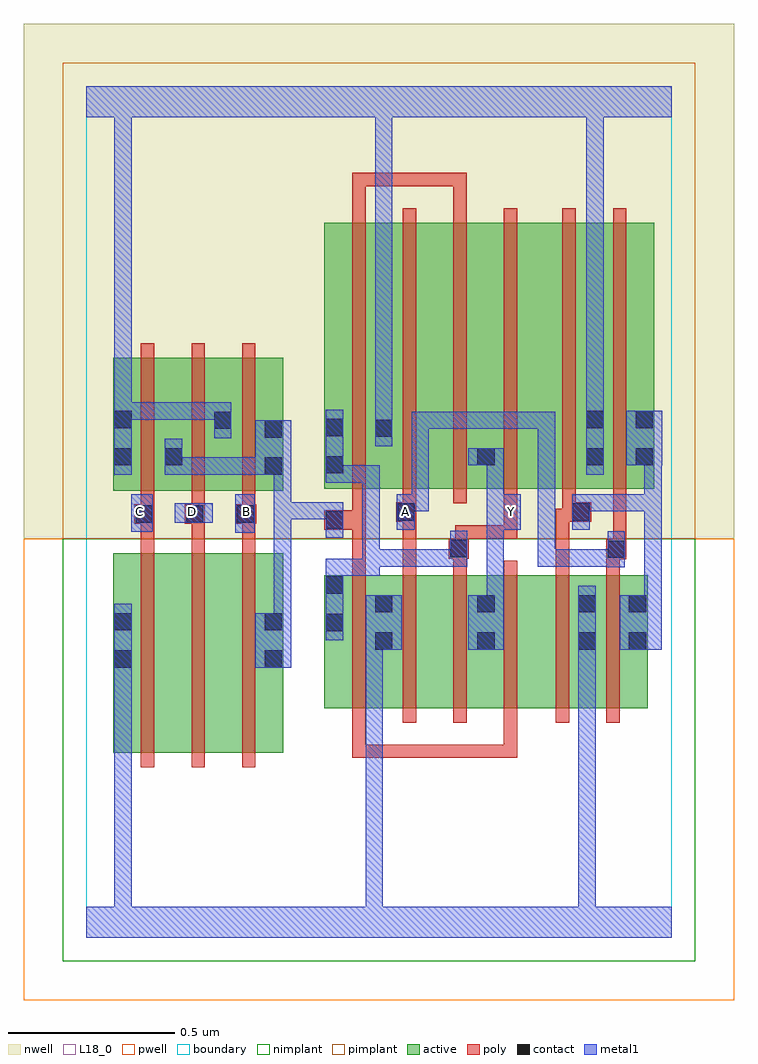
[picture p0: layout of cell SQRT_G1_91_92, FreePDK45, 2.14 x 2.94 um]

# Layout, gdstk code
import gdstk
lib = gdstk.Library(unit=1e-6, precision=1e-09)
def R(c, l, rs):  # rectangles x0, y0, x1, y1
    for r in rs: c.add(gdstk.rectangle(r[:2], r[2:], *l))
def A(c, l, x, y, w, h, nx, ny, dx, dy):  # array of equal rectangles
    R(c, l, [(x+i*dx, y+j*dy, x+i*dx+w, y+j*dy+h) for i in range(nx) for j in range(ny)])
active = (1, 0)
pwell = (2, 0)
nwell = (3, 0)
nimplant = (4, 0)
pimplant = (5, 0)
poly = (9, 0)
contact = (10, 0)
metal1 = (11, 0)
L18_0 = (18, 0)
boundary = (235, 0)

sqrt_g1_91_92 = lib.new_cell('SQRT_G1_91_92')
R(sqrt_g1_91_92, active, [(0.08,0.556,0.14,1.156), (0.08,0.556,0.26,1.156), (0.26,0.556,0.412,1.156), (0.412,0.556,0.592,1.156), (0.532,0.556,0.592,1.156), (0.716,0.69,0.776,1.09), (0.716,0.69,0.924,1.09), (0.864,0.69,1.048,1.09), (0.864,0.69,0.924,1.034), (1.048,0.69,1.232,1.09), (1.172,0.69,1.352,1.09), (1.172,0.69,1.232,1.034), (1.352,0.69,1.536,1.09), (1.476,0.69,1.536,1.09), (1.476,0.69,1.688,1.09), (1.628,0.69,1.688,1.09), (0.08,1.344,0.14,1.744), (0.08,1.344,0.292,1.744), (0.232,1.344,0.44,1.744), (0.38,1.344,0.44,1.744), (0.38,1.344,0.592,1.744), (0.532,1.344,0.592,1.744), (0.716,1.35,0.924,2.15), (0.716,1.35,0.776,2.15), (0.864,1.35,1.048,2.15), (1.048,1.35,1.232,2.15), (1.172,1.35,1.352,2.15), (1.352,1.35,1.56,2.15), (1.5,1.35,1.56,2.044), (1.5,1.35,1.708,2.15), (1.648,1.35,1.708,2.044), (1.172,1.388,1.232,2.044), (0.232,1.416,0.292,1.644), (0.864,1.502,0.924,2.044)])
R(sqrt_g1_91_92, pwell, [(-0.188,-0.188,1.948,1.2)])
R(sqrt_g1_91_92, nwell, [(-0.188,1.2,1.948,2.748)])
R(sqrt_g1_91_92, nimplant, [(-0.072,-0.072,1.832,1.2)])
R(sqrt_g1_91_92, pimplant, [(-0.072,1.2,1.832,2.632)])
A(sqrt_g1_91_92, poly, 0.164, 0.512, 0.04, 0.688, 3, 1, 0.152, 0)
A(sqrt_g1_91_92, poly, 0.8, 0.646, 0.04, 0.488, 4, 1, 0.152, 0)
A(sqrt_g1_91_92, poly, 0.164, 1.16, 0.04, 0.124, 3, 1, 0.152, 0)
A(sqrt_g1_91_92, poly, 0.164, 1.264, 0.04, 0.076, 3, 1, 0.152, 0)
A(sqrt_g1_91_92, poly, 0.164, 1.3, 0.04, 0.488, 3, 1, 0.152, 0)
A(sqrt_g1_91_92, poly, 0.8, 1.306, 0.04, 0.888, 4, 1, 0.152, 0)
R(sqrt_g1_91_92, poly, [(0.8,0.54,0.84,0.58), (0.8,0.54,0.84,0.58), (0.8,0.54,0.84,0.58), (0.8,0.54,0.84,0.686), (0.8,0.54,1.024,0.58), (0.984,0.54,1.024,0.58), (0.984,0.54,1.024,0.58), (0.984,0.54,1.024,0.58), (0.984,0.54,1.19,0.58), (1.15,0.54,1.19,0.58), (1.15,0.54,1.296,0.58), (1.256,0.54,1.296,0.58), (1.256,0.54,1.296,0.58), (1.256,0.54,1.296,0.58), (1.256,0.54,1.296,0.686), (1.412,0.646,1.452,1.134), (1.564,0.646,1.604,1.134), (0.8,1.094,0.84,1.266), (0.952,1.094,0.992,1.29), (1.104,1.094,1.144,1.18), (1.412,1.094,1.452,1.29), (1.564,1.094,1.604,1.178), (1.564,1.138,1.624,1.198), (1.09,1.14,1.15,1.2), (1.584,1.158,1.624,1.346), (1.584,1.158,1.624,1.198), (1.584,1.158,1.624,1.198), (1.11,1.16,1.15,1.2), (1.11,1.16,1.15,1.24), (1.11,1.2,1.296,1.24), (1.256,1.2,1.296,1.24), (1.256,1.2,1.296,1.24), (1.256,1.2,1.296,1.24), (1.256,1.2,1.296,1.346), (0.716,1.226,0.84,1.286), (0.8,1.226,0.84,1.266), (0.8,1.226,0.84,1.266), (0.144,1.244,0.204,1.304), (0.164,1.244,0.204,1.284), (0.164,1.244,0.204,1.284), (0.296,1.244,0.356,1.304), (0.45,1.244,0.51,1.304), (0.8,1.246,0.84,1.346), (0.932,1.25,0.992,1.31), (0.952,1.25,0.992,1.29), (0.952,1.25,0.992,1.29), (1.412,1.25,1.472,1.29), (1.432,1.25,1.472,1.29), (1.432,1.25,1.518,1.31), (0.316,1.264,0.356,1.304), (0.316,1.264,0.356,1.304), (0.468,1.264,0.508,1.304), (0.468,1.264,0.508,1.304), (0.952,1.27,0.992,1.346), (1.432,1.27,1.472,1.346), (1.432,1.306,1.472,2.194), (1.584,1.306,1.624,2.194), (0.8,2.154,0.84,2.3), (1.104,2.154,1.144,2.3), (0.8,2.26,0.84,2.3), (0.8,2.26,0.84,2.3), (0.8,2.26,0.84,2.3), (0.8,2.26,1.024,2.3), (0.984,2.26,1.024,2.3), (0.984,2.26,1.024,2.3), (0.984,2.26,1.024,2.3), (0.984,2.26,1.144,2.3), (1.104,2.26,1.144,2.3)])
R(sqrt_g1_91_92, contact, [(0.084,0.812,0.136,0.864), (0.536,0.812,0.588,0.864), (0.868,0.866,0.92,0.918), (1.176,0.866,1.228,0.918), (1.48,0.866,1.532,0.918), (1.632,0.866,1.684,0.918), (0.72,0.922,0.772,0.974), (0.084,0.924,0.136,0.976), (0.536,0.924,0.588,0.976), (0.868,0.978,0.92,1.03), (1.176,0.978,1.228,1.03), (1.48,0.978,1.532,1.03), (1.632,0.978,1.684,1.03), (0.72,1.034,0.772,1.086), (1.568,1.142,1.62,1.194), (1.094,1.144,1.146,1.196), (0.72,1.23,0.772,1.282), (0.148,1.248,0.2,1.3), (0.3,1.248,0.352,1.3), (0.454,1.248,0.506,1.3), (0.936,1.254,0.988,1.306), (1.462,1.254,1.514,1.306), (0.536,1.392,0.588,1.444), (0.72,1.396,0.772,1.448), (0.084,1.42,0.136,1.472), (0.236,1.42,0.288,1.472), (1.176,1.42,1.228,1.472), (1.504,1.42,1.556,1.472), (1.652,1.42,1.704,1.472), (0.536,1.504,0.588,1.556), (0.868,1.506,0.92,1.558), (0.72,1.508,0.772,1.56), (0.384,1.53,0.436,1.582), (0.084,1.532,0.136,1.584), (1.504,1.532,1.556,1.584), (1.652,1.532,1.704,1.584)])
R(sqrt_g1_91_92, metal1, [(0,0,1.76,0.092), (0.084,0.04,0.136,0.092), (0.084,0.04,0.136,0.092), (0.084,0.04,0.136,0.092), (0.084,0.04,0.136,0.092), (0.084,0.04,0.136,0.836), (0.84,0.04,0.892,0.092), (0.84,0.04,0.892,0.092), (0.84,0.04,0.892,0.092), (0.84,0.04,0.892,0.092), (0.84,0.04,0.892,0.092), (0.84,0.04,0.892,0.092), (0.84,0.04,0.892,0.092), (0.84,0.04,0.892,0.092), (0.84,0.04,0.892,0.092), (0.84,0.04,0.892,0.092), (0.84,0.04,0.892,0.092), (0.84,0.04,0.892,0.092), (0.84,0.04,0.892,0.918), (1.48,0.04,1.532,0.092), (1.48,0.04,1.532,0.092), (1.48,0.04,1.532,0.092), (1.48,0.04,1.532,0.092), (1.48,0.04,1.532,0.092), (1.48,0.04,1.532,0.092), (1.48,0.04,1.532,0.092), (1.48,0.04,1.532,0.092), (1.48,0.04,1.532,0.092), (1.48,0.04,1.532,0.092), (1.48,0.04,1.532,0.092), (1.48,0.04,1.532,0.092), (1.48,0.04,1.532,0.89), (0.084,0.784,0.136,0.836), (0.084,0.784,0.136,0.836), (0.084,0.784,0.136,0.836), (0.084,0.784,0.136,0.836), (0.084,0.784,0.136,1.004), (0.508,0.812,0.616,0.976), (1.48,0.838,1.532,1.058), (0.84,0.866,0.948,1.03), (1.148,0.866,1.256,1.03), (1.604,0.866,1.73,1.03), (0.72,0.894,0.772,1.114), (0.564,0.924,0.616,1.31), (1.204,0.978,1.256,1.278), (1.678,0.978,1.73,1.334), (1.678,0.978,1.73,1.03), (1.678,0.978,1.73,1.03), (0.72,1.062,0.772,1.114), (0.72,1.062,0.772,1.14), (0.72,1.088,0.882,1.14), (0.83,1.088,0.882,1.14), (0.83,1.088,0.882,1.168), (1.568,1.114,1.62,1.222), (0.83,1.116,0.882,1.168), (0.83,1.116,0.882,1.168), (0.83,1.116,0.882,1.168), (0.83,1.116,0.992,1.168), (0.83,1.116,0.882,1.42), (0.94,1.116,0.992,1.168), (0.94,1.116,1.146,1.168), (1.094,1.116,1.146,1.224), (1.358,1.116,1.41,1.168), (1.358,1.116,1.416,1.168), (1.358,1.116,1.41,1.582), (1.364,1.116,1.416,1.168), (1.364,1.116,1.52,1.168), (1.468,1.116,1.52,1.168), (1.468,1.116,1.62,1.168), (0.72,1.202,0.772,1.31), (0.448,1.218,0.506,1.334), (0.134,1.22,0.2,1.334), (0.934,1.226,0.988,1.334), (1.204,1.226,1.306,1.334), (1.462,1.226,1.514,1.334), (0.266,1.248,0.38,1.306), (0.564,1.258,0.616,1.31), (0.564,1.258,0.616,1.31), (0.564,1.258,0.616,1.31), (0.564,1.258,0.772,1.31), (0.564,1.258,0.616,1.444), (0.72,1.258,0.772,1.31), (0.72,1.258,0.772,1.31), (0.936,1.282,1.03,1.334), (0.978,1.282,1.03,1.334), (0.978,1.282,1.03,1.334), (0.978,1.282,1.03,1.334), (0.978,1.282,1.03,1.582), (1.204,1.282,1.256,1.472), (1.204,1.282,1.256,1.334), (1.204,1.282,1.256,1.334), (1.462,1.282,1.52,1.334), (1.468,1.282,1.52,1.334), (1.468,1.282,1.73,1.334), (1.678,1.282,1.73,1.472), (1.678,1.282,1.73,1.334), (1.678,1.282,1.73,1.334), (1.678,1.282,1.73,1.334), (0.72,1.368,0.772,1.42), (0.72,1.368,0.772,1.42), (0.72,1.368,0.772,1.588), (0.72,1.368,0.882,1.42), (0.83,1.368,0.882,1.42), (0.83,1.368,0.882,1.42), (0.83,1.368,0.882,1.42), (0.084,1.392,0.136,1.612), (0.236,1.392,0.288,1.444), (0.236,1.392,0.288,1.444), (0.236,1.392,0.288,1.5), (0.236,1.392,0.45,1.444), (0.398,1.392,0.45,1.444), (0.398,1.392,0.56,1.444), (0.508,1.392,0.616,1.556), (0.508,1.392,0.56,1.444), (0.508,1.392,0.56,1.444), (1.504,1.392,1.556,1.612), (1.148,1.42,1.256,1.472), (1.624,1.42,1.732,1.584), (0.868,1.478,0.92,1.586), (0.384,1.502,0.436,1.61), (0.978,1.53,1.03,1.582), (0.978,1.53,1.098,1.582), (1.046,1.53,1.098,1.582), (1.046,1.53,1.256,1.582), (1.204,1.53,1.256,1.582), (1.204,1.53,1.256,1.582), (1.204,1.53,1.256,1.582), (1.204,1.53,1.41,1.582), (1.358,1.53,1.41,1.582), (1.358,1.53,1.41,1.582), (1.358,1.53,1.41,1.582), (1.358,1.53,1.41,1.582), (1.358,1.53,1.41,1.582), (0.868,1.534,0.92,2.52), (0.084,1.558,0.136,1.61), (0.084,1.558,0.136,1.61), (0.084,1.558,0.326,1.61), (0.274,1.558,0.326,1.61), (0.274,1.558,0.326,1.61), (0.274,1.558,0.326,1.61), (0.274,1.558,0.436,1.61), (0.084,1.56,0.136,1.612), (0.084,1.56,0.136,1.612), (0.084,1.56,0.136,1.612), (0.084,1.56,0.136,1.612), (0.084,1.56,0.136,1.612), (0.084,1.56,0.136,1.612), (0.084,1.56,0.136,1.612), (0.084,1.56,0.136,1.612), (0.084,1.56,0.136,2.52), (1.504,1.56,1.556,1.612), (1.504,1.56,1.556,1.612), (1.504,1.56,1.556,1.612), (1.504,1.56,1.556,1.612), (1.504,1.56,1.556,2.52), (0,2.468,1.76,2.56), (0.084,2.468,0.136,2.52), (0.084,2.468,0.136,2.52), (0.084,2.468,0.136,2.52), (0.084,2.468,0.136,2.52), (0.084,2.468,0.136,2.52), (0.084,2.468,0.136,2.52), (0.084,2.468,0.136,2.52), (0.084,2.468,0.136,2.52), (0.868,2.468,0.92,2.52), (0.868,2.468,0.92,2.52), (0.868,2.468,0.92,2.52), (0.868,2.468,0.92,2.52), (0.868,2.468,0.92,2.52), (0.868,2.468,0.92,2.52), (0.868,2.468,0.92,2.52), (0.868,2.468,0.92,2.52), (1.504,2.468,1.556,2.52), (1.504,2.468,1.556,2.52), (1.504,2.468,1.556,2.52), (1.504,2.468,1.556,2.52)])
A(sqrt_g1_91_92, L18_0, 0.134, 1.254, 0.052, 0.052, 3, 1, 0.16, 0)
R(sqrt_g1_91_92, L18_0, [(0,0,1.76,0.092), (0.084,0.04,0.136,0.092), (0.084,0.04,0.136,0.092), (0.084,0.04,0.136,0.092), (0.084,0.04,0.136,0.092), (0.084,0.04,0.136,0.836), (0.84,0.04,0.892,0.092), (0.84,0.04,0.892,0.092), (0.84,0.04,0.892,0.092), (0.84,0.04,0.892,0.092), (0.84,0.04,0.892,0.092), (0.84,0.04,0.892,0.092), (0.84,0.04,0.892,0.092), (0.84,0.04,0.892,0.092), (0.84,0.04,0.892,0.092), (0.84,0.04,0.892,0.092), (0.84,0.04,0.892,0.092), (0.84,0.04,0.892,0.092), (0.84,0.04,0.892,0.918), (1.48,0.04,1.532,0.092), (1.48,0.04,1.532,0.092), (1.48,0.04,1.532,0.092), (1.48,0.04,1.532,0.092), (1.48,0.04,1.532,0.092), (1.48,0.04,1.532,0.092), (1.48,0.04,1.532,0.092), (1.48,0.04,1.532,0.092), (1.48,0.04,1.532,0.092), (1.48,0.04,1.532,0.092), (1.48,0.04,1.532,0.092), (1.48,0.04,1.532,0.092), (1.48,0.04,1.532,0.89), (0.084,0.784,0.136,0.836), (0.084,0.784,0.136,0.836), (0.084,0.784,0.136,0.836), (0.084,0.784,0.136,0.836), (0.084,0.784,0.136,1.004), (1.48,0.838,1.532,1.058), (0.84,0.866,0.948,1.03), (1.148,0.866,1.256,1.03), (1.204,0.978,1.256,1.278), (1.568,1.114,1.62,1.222), (1.358,1.116,1.41,1.168), (1.358,1.116,1.41,1.582), (1.358,1.116,1.416,1.168), (1.364,1.116,1.416,1.168), (1.364,1.116,1.52,1.168), (1.468,1.116,1.52,1.168), (1.468,1.116,1.62,1.168), (0.448,1.218,0.506,1.334), (0.134,1.22,0.2,1.334), (0.934,1.226,0.988,1.334), (1.204,1.226,1.306,1.334), (0.266,1.248,0.38,1.306), (0.934,1.254,0.986,1.306), (1.254,1.254,1.306,1.306), (0.936,1.282,1.03,1.334), (0.978,1.282,1.03,1.334), (0.978,1.282,1.03,1.334), (0.978,1.282,1.03,1.334), (0.978,1.282,1.03,1.582), (1.204,1.282,1.256,1.334), (1.204,1.282,1.256,1.334), (1.204,1.282,1.256,1.472), (0.084,1.392,0.136,1.612), (1.504,1.392,1.556,1.612), (1.148,1.42,1.256,1.472), (0.868,1.478,0.92,1.586), (0.384,1.502,0.436,1.61), (0.978,1.53,1.03,1.582), (0.978,1.53,1.098,1.582), (1.046,1.53,1.098,1.582), (1.046,1.53,1.256,1.582), (1.204,1.53,1.256,1.582), (1.204,1.53,1.256,1.582), (1.204,1.53,1.256,1.582), (1.204,1.53,1.41,1.582), (1.358,1.53,1.41,1.582), (1.358,1.53,1.41,1.582), (1.358,1.53,1.41,1.582), (1.358,1.53,1.41,1.582), (1.358,1.53,1.41,1.582), (0.868,1.534,0.92,2.52), (0.084,1.558,0.136,1.61), (0.084,1.558,0.136,1.61), (0.084,1.558,0.326,1.61), (0.274,1.558,0.326,1.61), (0.274,1.558,0.326,1.61), (0.274,1.558,0.326,1.61), (0.274,1.558,0.436,1.61), (0.084,1.56,0.136,1.612), (0.084,1.56,0.136,1.612), (0.084,1.56,0.136,1.612), (0.084,1.56,0.136,1.612), (0.084,1.56,0.136,1.612), (0.084,1.56,0.136,1.612), (0.084,1.56,0.136,1.612), (0.084,1.56,0.136,1.612), (0.084,1.56,0.136,2.52), (1.504,1.56,1.556,1.612), (1.504,1.56,1.556,1.612), (1.504,1.56,1.556,1.612), (1.504,1.56,1.556,1.612), (1.504,1.56,1.556,2.52), (0,2.468,1.76,2.56), (0.084,2.468,0.136,2.52), (0.084,2.468,0.136,2.52), (0.084,2.468,0.136,2.52), (0.084,2.468,0.136,2.52), (0.084,2.468,0.136,2.52), (0.084,2.468,0.136,2.52), (0.084,2.468,0.136,2.52), (0.084,2.468,0.136,2.52), (0.868,2.468,0.92,2.52), (0.868,2.468,0.92,2.52), (0.868,2.468,0.92,2.52), (0.868,2.468,0.92,2.52), (0.868,2.468,0.92,2.52), (0.868,2.468,0.92,2.52), (0.868,2.468,0.92,2.52), (0.868,2.468,0.92,2.52), (1.504,2.468,1.556,2.52), (1.504,2.468,1.556,2.52), (1.504,2.468,1.556,2.52), (1.504,2.468,1.556,2.52)])
R(sqrt_g1_91_92, boundary, [(0,0,1.76,2.56)])
sqrt_g1_91_92.add(gdstk.Label('A', (0.96,1.28), layer=11, texttype=0))
sqrt_g1_91_92.add(gdstk.Label('B', (0.48,1.28), layer=11, texttype=0))
sqrt_g1_91_92.add(gdstk.Label('C', (0.16,1.28), layer=11, texttype=0))
sqrt_g1_91_92.add(gdstk.Label('D', (0.32,1.28), layer=11, texttype=0))
sqrt_g1_91_92.add(gdstk.Label('Y', (1.28,1.28), layer=11, texttype=0))

lib.write_gds('SQRT_G1_91_92.gds')
